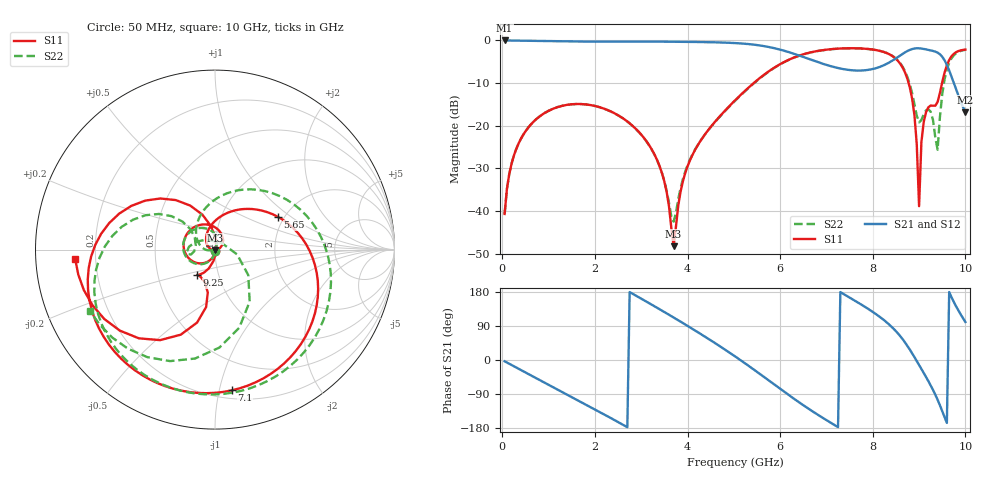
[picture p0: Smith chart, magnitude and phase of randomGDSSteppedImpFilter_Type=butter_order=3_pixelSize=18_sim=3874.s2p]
! freq	dB(S11)	phase(S11)	dB(S12)	phase(S12)
!  dB(S21)	phase(S21)	dB(S22)	phase(S22)
!S-par simulation data
#  GHz  S  DB  R 50
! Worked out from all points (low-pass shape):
!   200 points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, 50 MHz to 10 GHz, reference 50 ohm
!   highest |S21| = -0.01 dB at 50 MHz (marker M1); lowest = -16.9 dB at 10 GHz (marker M2)
!   |S21| within 3 dB of the highest: start of sweep to 6.262 GHz; 8.665 GHz to 9.419 GHz (753.7 MHz wide, 8.34 % of centre)
!   lowest |S11| = -48.3 dB at 3.7 GHz (marker M3), VSWR 1.01, Z = 50 - j0.386 ohm
!   |S11| at or under -10 dB: start of sweep to 5.43 GHz; 8.774 GHz to 9.496 GHz (722.3 MHz wide, 7.91 % of centre)
!   |S22| runs from -42.5 to -1.8 dB; largest |S21 - S12| = 0
!   S11 on the Smith chart (normalised r, x): 50 MHz: 1.00, -0.02; 5.65 GHz: 1.85, +0.80; 7.1 GHz: 0.26, -1.09; 9.25 GHz: 0.79, -0.23; 10 GHz: 0.12, -0.03
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0.05  -40.71 -91.3  -0.01 -3.4  -0.01 -3.4  -40.71 -91.0
0.5  -21.34 -124.3  -0.08 -32.9  -0.08 -32.9  -21.33 -122.0
1.75  -14.96 150.2  -0.28 -114.0  -0.28 -114.0  -14.96 160.5
2.6  -18.23 88.7  -0.28 -170.5  -0.28 -170.5  -18.24 109.6
3.4  -29.60 21.6  -0.29 133.8  -0.29 133.8  -29.62 69.9
3.7  -48.27 -90.3  -0.31 112.1  -0.31 112.1  -42.51 134.9
4.05  -28.20 158.3  -0.34 86.3  -0.34 86.3  -28.01 -174.5
5.05  -13.80 74.9  -0.63 7.5  -0.63 7.5  -13.90 115.0
5.65  -8.07 27.6  -1.33 -44.6  -1.33 -44.6  -8.14 59.0
6.7  -2.70 -55.1  -4.66 -135.6  -4.66 -135.6  -2.73 -37.1
7.1  -2.05 -83.3  -6.06 -166.2  -6.06 -166.2  -2.06 -68.3
7.7  -1.86 -123.7  -7.07 150.2  -7.07 150.2  -1.87 -111.8
8.35  -3.21 -176.8  -5.21 94.1  -5.21 94.1  -3.17 -165.4
8.85  -13.68 109.8  -2.02 17.7  -2.02 17.7  -12.41 139.3
8.95  -24.40 86.7  -1.84 -2.7  -1.84 -2.7  -17.66 149.4
9  -38.88 -34.4  -1.85 -13.1  -1.85 -13.1  -19.22 167.9
9.05  -23.85 -97.6  -1.90 -23.6  -1.90 -23.6  -18.67 -175.1
9.25  -15.28 -125.2  -2.33 -66.9  -2.33 -66.9  -16.74 173.6
9.4  -14.43 -107.6  -2.86 -105.0  -2.86 -105.0  -25.63 46.1
9.55  -7.56 -103.8  -4.65 -150.6  -4.65 -150.6  -9.16 -56.3
9.75  -3.14 -139.6  -9.98 153.1  -9.98 153.1  -3.48 -112.0
10  -2.15 -176.1  -16.85 100.2  -16.85 100.2  -2.21 -153.8
